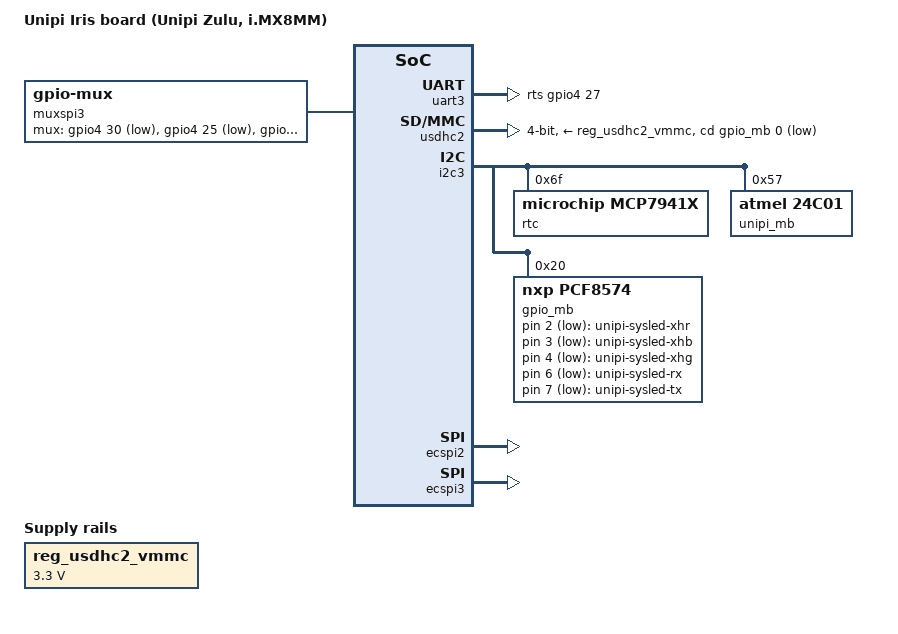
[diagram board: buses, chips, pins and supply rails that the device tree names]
// SPDX-License-Identifier: (GPL-2.0+ OR MIT)
/*
 * Copyright 2023 Unipi Technology
 * Copyright 2021 Faster CZ
 * Copyright 2019 NXP
 */

/dts-v1/;

#include "unipi-zulu.dtsi"

/ {
	model = "Unipi Iris board (Unipi Zulu, i.MX8MM)";

	unipi_id: unipi-id {
		compatible = "unipi,unipi-id";
		nvmem = <&unipi_mb>;
		nvmem-names = "plcid0";
		id-channel = <&i2c3>;
	};
	mbleds {
		compatible = "gpio-leds";

		user-led@1 {
			label = "unipi-sysled-xhr";
			gpios = <&gpio_mb 2 GPIO_ACTIVE_LOW>;
			default-state = "off";
		};
		user-led@2 {
			label = "unipi-sysled-xhb";
			gpios = <&gpio_mb 3 GPIO_ACTIVE_LOW>;
			default-state = "off";
		};
		user-led@3 {
			label = "unipi-sysled-xhg";
			gpios = <&gpio_mb 4 GPIO_ACTIVE_LOW>;
			default-state = "on";
			linux,default-trigger = "heartbeat";
		};
		user-led@4 {
			label = "unipi-sysled-rx";
			gpios = <&gpio_mb 6 GPIO_ACTIVE_LOW>;
			default-state = "off";
			linux,default-trigger = "ttymxc2-rx";
		};
		user-led@5 {
			label = "unipi-sysled-tx";
			gpios = <&gpio_mb 7 GPIO_ACTIVE_LOW>;
			default-state = "off";
			linux,default-trigger = "ttymxc2-tx";
		};
	};

	muxspi3: mux-controller {
		compatible = "gpio-mux";
		#mux-control-cells = <0>;
		pinctrl-names = "default";
		pinctrl-0 = <&pinctrl_ecspi3_cs>;
		mux-gpios = <&gpio4 30 GPIO_ACTIVE_LOW>, <&gpio4 25 GPIO_ACTIVE_LOW>, <&gpio4 26 GPIO_ACTIVE_LOW>;
		idle-state = <0>;
		status = "okay";
	};

	reg_usdhc2_vmmc: regulator-usdhc2 {
		compatible = "regulator-fixed";
		regulator-name = "VSD_3V3";
		regulator-min-microvolt = <3300000>;
		regulator-max-microvolt = <3300000>;
		status = "okay";
	};
};

&uart3 { /* console */
	pinctrl-names = "default";
	pinctrl-0 = <&pinctrl_uart3>, <&pinctrl_uart3_ctrl>;
	linux,rs485-enabled-at-boot-time;
	rts-gpios = <&gpio4 27 GPIO_ACTIVE_HIGH>;
	status = "okay";
};

&usdhc2 {
	// on pinheader
	pinctrl-names = "default", "state_100mhz", "state_200mhz";
	pinctrl-0 = <&pinctrl_usdhc2>;
	pinctrl-1 = <&pinctrl_usdhc2_100mhz>;
	pinctrl-2 = <&pinctrl_usdhc2_200mhz>;
	cd-gpios = <&gpio_mb 0 GPIO_ACTIVE_LOW>;
	bus-width = <4>;
	voltage-ranges = <1800 1800 3300 3300>;
	sdhci,auto-cmd12;
	vmmc-supply = <&reg_usdhc2_vmmc>;
	status = "okay";
};


&i2c3 {
	status = "okay";

	rtc@6f {
		compatible = "microchip,mcp7941x";
		reg = <0x6f>;
	};

	unipi_mb:24c01@57 {
		compatible = "atmel,24c01";
		reg = <0x57>;
		status = "okay";
	};

	gpio_mb: pcf8574@20 {
		compatible = "nxp,pcf8574";
		gpio-controller;
		#gpio-cells = <2>;
		reg = <0x20>;
		enable_uart3_rx {
			gpio-hog;
			gpios = <0x5 GPIO_ACTIVE_HIGH>;
			output-high;
			line-name = "enable-uart3-rx";
		};
	};
};

&iomuxc {
	pinctrl-names = "default";

/*	pinctrl_usdhc2_gpio: usdhc2grpgpio {
		fsl,pins = <
			MX8MM_IOMUXC_SAI2_RXD0_GPIO4_IO23			0x1c4
		>;
	};
*/
	pinctrl_usdhc2: usdhc2grp {
		fsl,pins = <
			MX8MM_IOMUXC_SD2_CLK_USDHC2_CLK			0x190
			MX8MM_IOMUXC_SD2_CMD_USDHC2_CMD			0x1d0
			MX8MM_IOMUXC_SD2_DATA0_USDHC2_DATA0		0x1d0
			MX8MM_IOMUXC_SD2_DATA1_USDHC2_DATA1		0x1d0
			MX8MM_IOMUXC_SD2_DATA2_USDHC2_DATA2		0x1d0
			MX8MM_IOMUXC_SD2_DATA3_USDHC2_DATA3		0x1d0
			MX8MM_IOMUXC_GPIO1_IO04_USDHC2_VSELECT	0x1d0
		>;
	};

	pinctrl_usdhc2_100mhz: usdhc2grp100mhz {
		fsl,pins = <
			MX8MM_IOMUXC_SD2_CLK_USDHC2_CLK			0x194
			MX8MM_IOMUXC_SD2_CMD_USDHC2_CMD			0x1d4
			MX8MM_IOMUXC_SD2_DATA0_USDHC2_DATA0		0x1d4
			MX8MM_IOMUXC_SD2_DATA1_USDHC2_DATA1		0x1d4
			MX8MM_IOMUXC_SD2_DATA2_USDHC2_DATA2		0x1d4
			MX8MM_IOMUXC_SD2_DATA3_USDHC2_DATA3		0x1d4
			MX8MM_IOMUXC_GPIO1_IO04_USDHC2_VSELECT	0x1d0
		>;
	};

	pinctrl_usdhc2_200mhz: usdhc2grp200mhz {
		fsl,pins = <
			MX8MM_IOMUXC_SD2_CLK_USDHC2_CLK			0x196
			MX8MM_IOMUXC_SD2_CMD_USDHC2_CMD			0x1d6
			MX8MM_IOMUXC_SD2_DATA0_USDHC2_DATA0		0x1d6
			MX8MM_IOMUXC_SD2_DATA1_USDHC2_DATA1		0x1d6
			MX8MM_IOMUXC_SD2_DATA2_USDHC2_DATA2		0x1d6
			MX8MM_IOMUXC_SD2_DATA3_USDHC2_DATA3		0x1d6
			MX8MM_IOMUXC_GPIO1_IO04_USDHC2_VSELECT	0x1d0
		>;
	};

	pinctrl_ecspi2_cs: ecspi2cs {
		fsl,pins = <
			MX8MM_IOMUXC_ECSPI2_SS0_GPIO5_IO13          0x16
			MX8MM_IOMUXC_UART2_TXD_GPIO5_IO25			0x16
		>;
	};

	pinctrl_ecspi3_cs: ecspi3cs {
		fsl,pins = <
			MX8MM_IOMUXC_SAI3_RXD_GPIO4_IO30		0x16
			MX8MM_IOMUXC_SAI2_TXC_GPIO4_IO25		0x16
			MX8MM_IOMUXC_SAI2_TXD0_GPIO4_IO26		0x16
		>;
	};

	pinctrl_ecspi_int: ecspiint {
		fsl,pins = <MX8MM_IOMUXC_I2C4_SCL_GPIO5_IO20	0x19>;
	};

	pinctrl_uart4_ctrl: uart4ctrlgrp {
		fsl,pins = <MX8MM_IOMUXC_SAI5_RXC_GPIO3_IO20	0x040>;
	};

	pinctrl_slotirq0: slotirq0 {
		fsl,pins = <MX8MM_IOMUXC_I2C4_SCL_GPIO5_IO20	0x19>;
	};
	pinctrl_slotirq1: slotirq1 {
		fsl,pins = <MX8MM_IOMUXC_I2C4_SDA_GPIO5_IO21	0x19>;
	};
	pinctrl_slotirq2: slotirq2 {
		fsl,pins = <MX8MM_IOMUXC_SAI2_RXD0_GPIO4_IO23	0x19>;
	};
	pinctrl_slotirq3: slotirq3 {
		fsl,pins = <MX8MM_IOMUXC_SAI3_RXFS_GPIO4_IO28	0x19>;
	};
};

&ecspi2 {
	fsl,spi-num-chipselects = <0>;
	pinctrl-names = "default";
	pinctrl-0 = <&pinctrl_ecspi2  &pinctrl_ecspi2_cs>;
	cs-gpios = <&gpio5 13 GPIO_ACTIVE_LOW>, <&gpio5 25 GPIO_ACTIVE_LOW>;
	/*
	  pinctrl-0 = <&pinctrl_ecspi2>;
	  mux-controls = <&muxspi2>;
	*/
	status = "okay";
};


&ecspi3 {
	fsl,spi-num-chipselects = <0>;
	pinctrl-names = "default";
	pinctrl-0 = <&pinctrl_ecspi3>;
	mux-controls = <&muxspi3>;
	status = "okay";
};

&snvs_rtc {
	status = "disabled";
};
